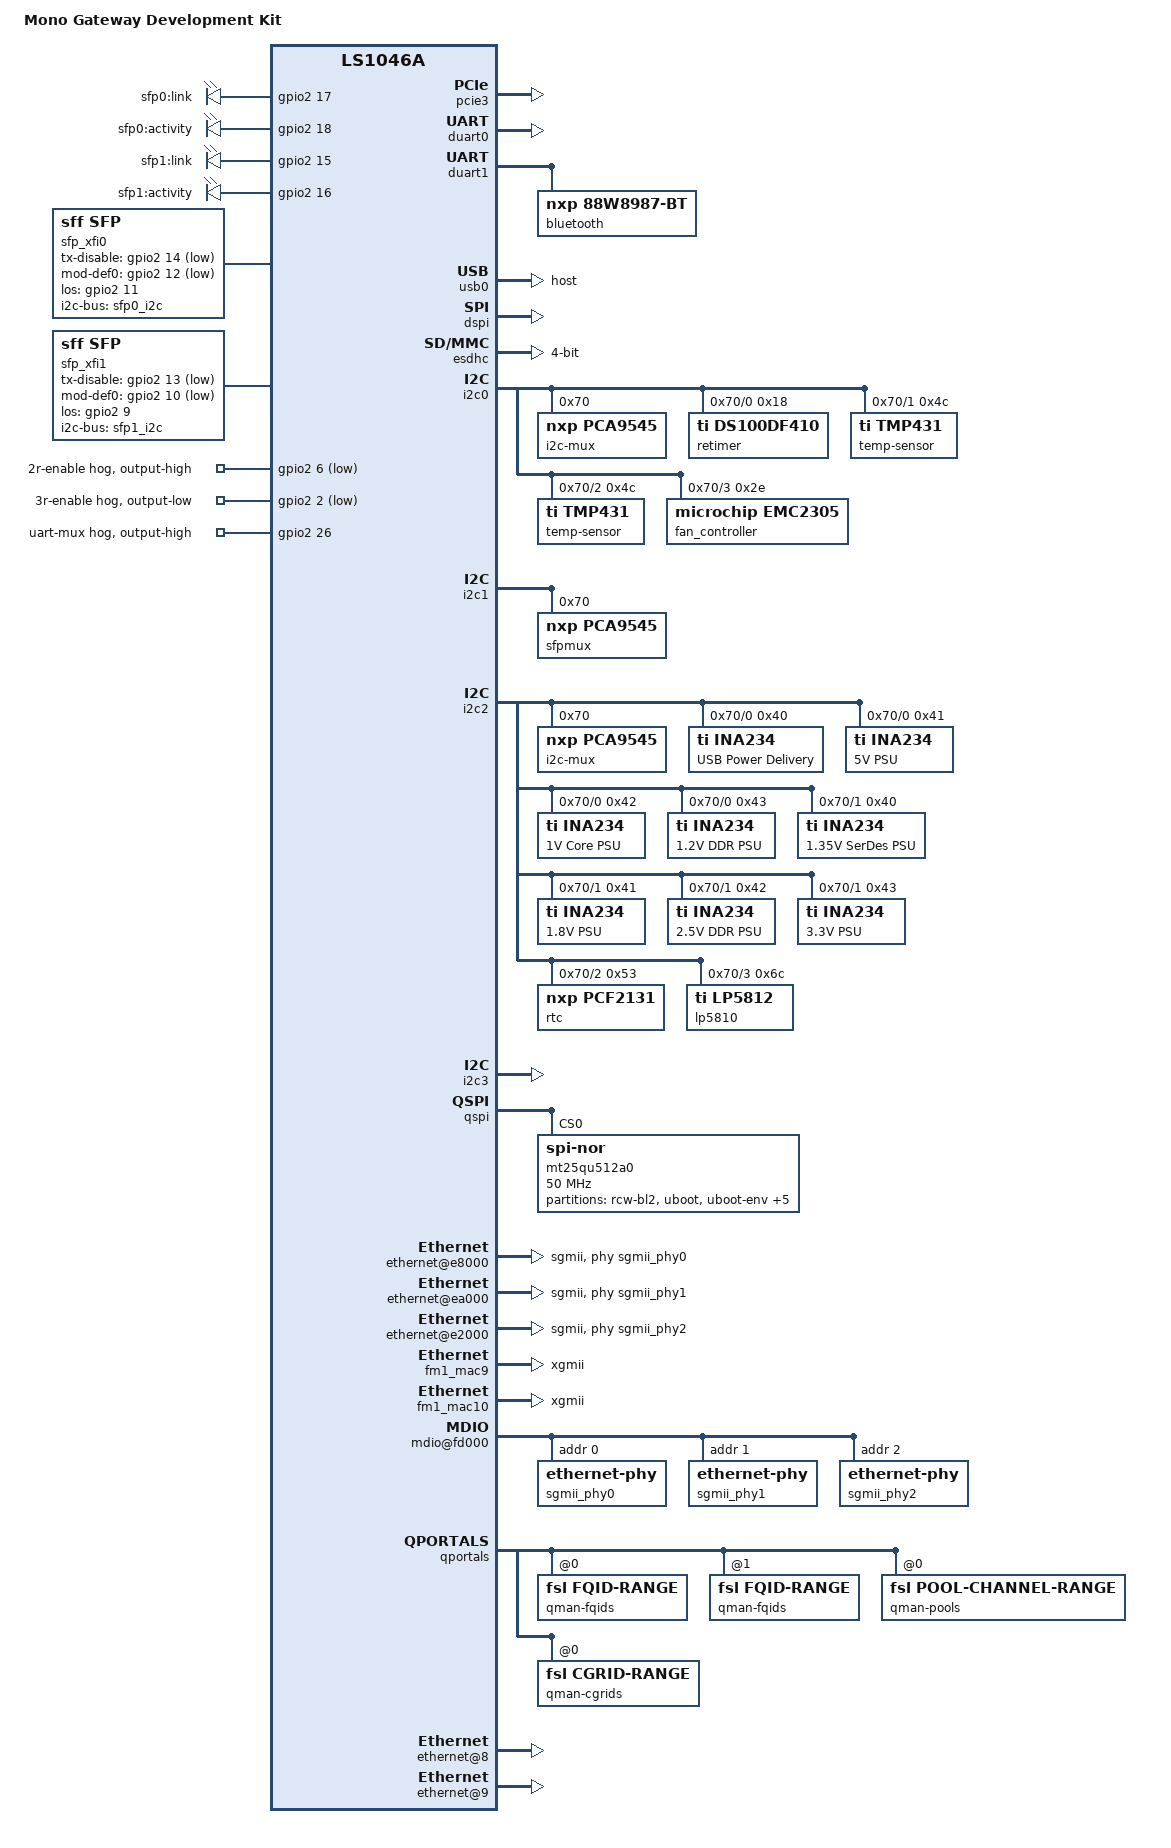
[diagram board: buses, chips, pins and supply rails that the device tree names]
// SPDX-License-Identifier: (GPL-2.0+ OR MIT)
/*
 * Device Tree file for Freescale Layerscape-1046A family SoC.
 *
 * Copyright 2025 Mono Technologies Inc.
 *
 * Author: Tomaz Zaman <tomaz@mono.si>
 */

/dts-v1/;

#include <dt-bindings/gpio/gpio.h>
#include <dt-bindings/leds/common.h>
#include <dt-bindings/pwm/pwm.h>
#include "fsl-ls1046a.dtsi"

/ {
	model = "Mono Gateway Development Kit";
	compatible = "mono,gateway-dk", "fsl,ls1046a";

	aliases {
		serial0 = &duart0;
		serial1 = &duart1;
		ethernet0 = &enet4;  /* MAC5 - leftmost 1G port */
ethernet1 = &enet1;  /* MAC2 - right 1G port */
ethernet2 = &enet5;  /* MAC6 - center 1G port */
		ethernet3 = &enet6;  /* MAC9 - 10G left SFP */
		ethernet4 = &enet7;  /* MAC10 - 10G right SFP */
	};

	chosen {
		stdout-path = "serial0:115200n8";
	};

	reserved-memory {
		#address-cells = <2>;
		#size-cells = <2>;
		ranges;

		/* DPDK DMA buffer pool — 256MB contiguous
		 * Used by fsl_usdpaa_mainline driver for DMA_MAP ioctl.
		 * Address 0xc000_0000 is below 4GB DMA boundary.
		 */
		usdpaa_mem: usdpaa-mem@c0000000 {
			compatible = "fsl,usdpaa-mem";
			reg = <0x0 0xc0000000 0x0 0x10000000>;
			no-map;
		};
	};

	leds {
		compatible = "gpio-leds";

		/* SFP+ Port 0 LEDs - Activity/Link */
		sfp0_link {
			label = "sfp0:link";
			gpios = <&gpio2 17 GPIO_ACTIVE_HIGH>;
			default-state = "off";
		};

		sfp0_activity {
			label = "sfp0:activity";
			gpios = <&gpio2 18 GPIO_ACTIVE_HIGH>;
			default-state = "off";
			linux,default-trigger = "netdev";
		};

		/* SFP+ Port 1 LEDs - Activity/Link */
		sfp1_link {
			label = "sfp1:link";
			gpios = <&gpio2 15 GPIO_ACTIVE_HIGH>;
			default-state = "off";
		};

		sfp1_activity {
			label = "sfp1:activity";
			gpios = <&gpio2 16 GPIO_ACTIVE_HIGH>;
			default-state = "off";
			linux,default-trigger = "netdev";
		};
	};

	/* SFP 1 */
sfp_xfi0: sfp-xfi0 {
compatible = "sff,sfp";
i2c-bus = <&sfp0_i2c>;
tx-disable-gpios = <&gpio2 14 GPIO_ACTIVE_LOW>;
mod-def0-gpios = <&gpio2 12 GPIO_ACTIVE_LOW>;
los-gpios = <&gpio2 11 GPIO_ACTIVE_HIGH>;
maximum-power-milliwatt = <3000>;
	};

	/* SFP 2 */
sfp_xfi1: sfp-xfi1 {
compatible = "sff,sfp";
i2c-bus = <&sfp1_i2c>;
tx-disable-gpios = <&gpio2 13 GPIO_ACTIVE_LOW>;
mod-def0-gpios = <&gpio2 10 GPIO_ACTIVE_LOW>;
los-gpios = <&gpio2 9 GPIO_ACTIVE_HIGH>;
maximum-power-milliwatt = <3000>;
	};
};

/*
 * BMan buffer pool for DPDK.
 * DPDK's fman.c requires at least one bpool with fsl,bpid.
 * The bpool-ethernet-cfg values (count/size/addr) are optional hints;
 * DPDK overrides them with its own mbuf pool allocation.
 */
/ {
	dpaa_pool: dpaa-bpool {
		compatible = "fsl,bpool";
		fsl,bpid = <16>;
	};
};

&pcie3 {
	status = "okay";
};

&gpio2 {
	2R-enable {
		gpio-hog;
		gpios = <6 GPIO_ACTIVE_LOW>;
		output-high;
		line-name = "2r-enable";
	};

	3R-enable {
		gpio-hog;
		gpios = <2 GPIO_ACTIVE_LOW>;
		output-low;
		line-name = "3r-enable";
	};

	uart-mux {
		gpio-hog;
		gpios = <26 GPIO_ACTIVE_HIGH>;
		output-high; /* "output-high" for 2R, "output-low" for 3R */
		line-name = "uart-mux";
	};
};

&duart0 {
	status = "okay";
};

&duart1 {
	status = "okay";
	uart-has-rtscts;

	bluetooth {
		compatible = "nxp,88w8987-bt";
		fw-init-baudrate = <3000000>;
	};
};

&usb0 {
	status = "okay";
	dr_mode = "host";
};

&usb1 {
	status = "disabled";
};

&usb2 {
	status = "disabled";
};

&dspi {
	status = "okay";
};

&esdhc {
	status = "okay";
	mmc-hs200-1_8v;
	bus-width = <4>;
};

&i2c0 {
	status = "okay";

	/* Thermal sensors, retimer, clock genenerator, PWM fan */
	i2c-mux@70 {
		compatible = "nxp,pca9545";
		reg = <0x70>;
		#address-cells = <1>;
		#size-cells = <0>;

		i2c@0 {
			#address-cells = <1>;
			#size-cells = <0>;
			reg = <0>;

			retimer@18 {
				compatible = "ti,ds100df410";
				reg = <0x18>;
				status = "okay";
			};
		};

		i2c@1 {
			#address-cells = <1>;
			#size-cells = <0>;
			reg = <1>;

			temp-sensor@4c {
				compatible = "ti,tmp431";
				reg = <0x4c>;
			};
		};

		i2c@2 {
			#address-cells = <1>;
			#size-cells = <0>;
			reg = <2>;

			temp-sensor@4c {
				compatible = "ti,tmp431";
				reg = <0x4c>;
			};
		};

		i2c@3 {
			#address-cells = <1>;
			#size-cells = <0>;
			reg = <3>;

			fan_controller: fan-controller@2e {
				compatible = "microchip,emc2305";
				reg = <0x2e>;
				#address-cells = <1>;
				#size-cells = <0>;
				#pwm-cells = <3>;

				fan0: fan@0 {
					reg = <0>;
					label = "System Fan 1";
					pwms = <&fan_controller 26000 1 1>;
					#cooling-cells = <2>;
				};

				fan1: fan@1 {
					reg = <1>;
					label = "System Fan 2";
					pwms = <&fan_controller 26000 1 1>;
					#cooling-cells = <2>;
				};
			};
		};
	};
};

&i2c1 {
	status = "okay";

	/* SFP+ modules */
	sfpmux: i2c-mux@70 {
		compatible = "nxp,pca9545";
		reg = <0x70>;
		#address-cells = <1>;
		#size-cells = <0>;

		sfp0_i2c: i2c@0 {
			#address-cells = <1>;
			#size-cells = <0>;
			reg = <0>;
		};

		sfp1_i2c: i2c@1 {
			#address-cells = <1>;
			#size-cells = <0>;
			reg = <1>;
		};
	};
};

&i2c2 {
	status = "okay";

	i2c-mux@70 {
		compatible = "nxp,pca9545";
		reg = <0x70>;
		#address-cells = <1>;
		#size-cells = <0>;

		i2c@0 {
			#address-cells = <1>;
			#size-cells = <0>;
			reg = <0>;

			power_sensor@40 {
				compatible = "ti,ina234";
				reg = <0x40>;
				label = "USB Power Delivery";
				#io-channel-cells = <1>;
				shunt-resistor = <1000>;
			};
			power_sensor@41 {
				compatible = "ti,ina234";
				reg = <0x41>;
				label = "5V PSU";
				#io-channel-cells = <1>;
				shunt-resistor = <1000>;
			};
			power_sensor@42 {
				compatible = "ti,ina234";
				reg = <0x42>;
				label = "1V Core PSU";
				#io-channel-cells = <1>;
				shunt-resistor = <1000>;
			};
			power_sensor@43 {
				compatible = "ti,ina234";
				reg = <0x43>;
				label = "1.2V DDR PSU";
				#io-channel-cells = <1>;
				shunt-resistor = <5000>;
			};
		};

		i2c@1 {
			#address-cells = <1>;
			#size-cells = <0>;
			reg = <1>;

			power_sensor@40 {
				compatible = "ti,ina234";
				reg = <0x40>;
				label = "1.35V SerDes PSU";
				#io-channel-cells = <1>;
				shunt-resistor = <5000>;
			};
			power_sensor@41 {
				compatible = "ti,ina234";
				reg = <0x41>;
				label = "1.8V PSU";
				#io-channel-cells = <1>;
				shunt-resistor = <5000>;
			};
			power_sensor@42 {
				compatible = "ti,ina234";
				reg = <0x42>;
				label = "2.5V DDR PSU";
				#io-channel-cells = <1>;
				shunt-resistor = <5000>;
			};
			power_sensor@43 {
				compatible = "ti,ina234";
				reg = <0x43>;
				label = "3.3V PSU";
				#io-channel-cells = <1>;
				shunt-resistor = <1000>;
			};
		};

		i2c@2 {
			#address-cells = <1>;
			#size-cells = <0>;
			reg = <2>;


			rtc@53 {
				compatible = "nxp,pcf2131";
				reg = <0x53>;
				status = "okay";
			};
		};

		i2c@3 {
			#address-cells = <1>;
			#size-cells = <0>;
			reg = <3>;

			lp5810@6c {
				compatible = "ti,lp5812";
				reg = <0x6c>;
				#address-cells = <1>;
				#size-cells = <0>;

				led@0 {
					reg = <0>;
					color = <LED_COLOR_ID_WHITE>;
					label = "status:white";
					led-max-microamp = <25500>;
				};

				led@1 {
					reg = <1>;
					color = <LED_COLOR_ID_BLUE>;
					label = "status:blue";
					led-max-microamp = <25500>;
				};

				led@2 {
					reg = <2>;
					color = <LED_COLOR_ID_GREEN>;
					label = "status:green";
					led-max-microamp = <25500>;
				};

				led@3 {
					reg = <3>;
					color = <LED_COLOR_ID_RED>;
					label = "status:red";
					led-max-microamp = <25500>;
				};
			};
		};
	};
};

&i2c3 {
	status = "okay";
};

&qspi {
	status = "okay";

	mt25qu512a0: flash@0 {
		#address-cells = <1>;
		#size-cells = <1>;
		compatible = "jedec,spi-nor";
		spi-max-frequency = <50000000>;
		reg = <0>;

		partitions {
			compatible = "fixed-partitions";
			#address-cells = <1>;
			#size-cells = <1>;

			/*
			 * Partition table verified against live /proc/mtd
			 * (2026-03-29, U-Boot 2025.04, Micron mt25qu512a 64MB QSPI).
			 * Erase sector = 4KB (0x1000). Must match actual firmware layout
			 * so mtd3 = uboot-env and fw_setenv works.
			 */

			/* RCW + BL2 (1 MB) — mtd1 */
			partition@0 {
				label = "rcw-bl2";
				reg = <0x00000000 0x00100000>;
				read-only;
			};
			/* U-Boot (2 MB) — mtd2 */
			partition@100000 {
				label = "uboot";
				reg = <0x00100000 0x00200000>;
				read-only;
			};
			/* U-Boot environment (1 MB, env=8KB) — mtd3, fw_setenv target */
			partition@300000 {
				label = "uboot-env";
				reg = <0x00300000 0x00100000>;
			};
			/* FMan microcode (1 MB) — mtd4 */
			partition@400000 {
				label = "fman-ucode";
				reg = <0x00400000 0x00100000>;
				read-only;
			};
			/* Recovery DTB (1 MB) — mtd5 */
			partition@500000 {
				label = "recovery-dtb";
				reg = <0x00500000 0x00100000>;
				read-only;
			};
			/* Backup (4 MB) — mtd6 */
			partition@600000 {
				label = "backup";
				reg = <0x00600000 0x00400000>;
				read-only;
			};
			/* Recovery kernel + initramfs (22 MB) — mtd7 */
			partition@a00000 {
				label = "kernel-initramfs";
				reg = <0x00a00000 0x01600000>;
				read-only;
			};
			/* Remaining space (32 MB) — mtd8 */
			partition@2000000 {
				label = "unallocated";
				reg = <0x02000000 0x02000000>;
			};
		};
	};
};

#include "fsl-ls1046-post.dtsi"

&fman0 {
	ethernet@e0000 {
		status = "disabled";
	};

	ethernet@e4000 {
		status = "disabled";
	};

	ethernet@e6000 {
		status = "disabled";
	};

	ethernet@e8000 {
		phy-handle = <&sgmii_phy0>;
		phy-connection-type = "sgmii";
		status = "okay";
	};

	ethernet@ea000 {
		phy-handle = <&sgmii_phy1>;
		phy-connection-type = "sgmii";
		status = "okay";
	};

	ethernet@e2000 {
		phy-handle = <&sgmii_phy2>;
		phy-connection-type = "sgmii";
		status = "okay";
	};

fm1_mac9: ethernet@f0000 { /* 10GEC1 */
status = "okay"; /* kernel fsl_dpaa_mac + fsl_dpa own this MAC at boot */
sfp = <&sfp_xfi0>;
phy-connection-type = "xgmii"; /* kernel converts to 10gbase-r; must use xgmii so fman_memac assigns PCS to xfi_pcs */
managed = "in-band-status";
};

fm1_mac10: ethernet@f2000 { /* 10GEC2 */
status = "okay"; /* kernel fsl_dpaa_mac + fsl_dpa own this MAC at boot */
sfp = <&sfp_xfi1>;
phy-connection-type = "xgmii"; /* kernel converts to 10gbase-r; must use xgmii so fman_memac assigns PCS to xfi_pcs */
managed = "in-band-status";
};

	mdio@fc000 {
		status = "disabled";
	};

	mdio@fd000 {
		sgmii_phy0: ethernet-phy@0 {
			reg = <0x0>;
		};

		sgmii_phy1: ethernet-phy@1 {
			reg = <0x1>;
		};

		sgmii_phy2: ethernet-phy@2 {
			reg = <0x2>;
		};
	};
};

&{/thermal-zones/core-cluster/trips} {
	fan_level1: fan-level1 {
		temperature = <40000>;
		hysteresis = <1000>;
		type = "active";
	};

	fan_level2: fan-level2 {
		temperature = <45000>;
		hysteresis = <1000>;
		type = "active";
	};

	fan_level3: fan-level3 {
		temperature = <50000>;
		hysteresis = <1000>;
		type = "active";
	};

	fan_level4: fan-level4 {
		temperature = <55000>;
		hysteresis = <1000>;
		type = "active";
	};

	fan_level5: fan-level5 {
		temperature = <60000>;
		hysteresis = <1000>;
		type = "active";
	};
};

&{/thermal-zones/core-cluster/cooling-maps} {
	fan-map1 {
		trip = <&fan_level1>;
		cooling-device = <&fan0 1 1>;
	};

	fan-map2 {
		trip = <&fan_level2>;
		cooling-device = <&fan0 2 2>;
	};

	fan-map3 {
		trip = <&fan_level3>;
		cooling-device = <&fan0 3 3>;
	};

	fan-map4 {
		trip = <&fan_level4>;
		cooling-device = <&fan0 4 4>;
	};

	fan-map5 {
		trip = <&fan_level5>;
		cooling-device = <&fan0 6 6>;
	};
};

/*
	* DPDK DPAA1 PMD support.
	*
	* Mainline kernel DTSIs lack fsl,qman-channel-id on TX port nodes
	* (only SDK DTSIs have it). DPDK's fman.c requires this property to
	* determine the QMan enqueue channel for each MAC's TX path.
	*
	* LS1046A FMan0 QMan channel assignment (from LS1046A Reference Manual):
	*   0x800 = 10GEC1 (MAC9,  ethernet@f0000)
	*   0x801 = 10GEC2 (MAC10, ethernet@f2000)
	*   0x802 = 1G MAC1 (ethernet@e0000) — disabled
	*   0x803 = 1G MAC2 (ethernet@e2000)
	*   0x804 = 1G MAC3 (ethernet@e4000) — disabled
	*   0x805 = 1G MAC4 (ethernet@e6000) — disabled
	*   0x806 = 1G MAC5 (ethernet@e8000)
	*   0x807 = 1G MAC6 (ethernet@ea000)
	*/
&fman0_tx_0x28 { fsl,qman-channel-id = <0x802>; }; /* MAC1 */
&fman0_tx_0x29 { fsl,qman-channel-id = <0x803>; }; /* MAC2 */
&fman0_tx_0x2a { fsl,qman-channel-id = <0x804>; }; /* MAC3 */
&fman0_tx_0x2b { fsl,qman-channel-id = <0x805>; }; /* MAC4 */
&fman0_tx_0x2c { fsl,qman-channel-id = <0x806>; }; /* MAC5 */
&fman0_tx_0x2d { fsl,qman-channel-id = <0x807>; }; /* MAC6 */
&fman0_tx_0x30 { fsl,qman-channel-id = <0x800>; }; /* MAC9  10GEC1 */
&fman0_tx_0x31 { fsl,qman-channel-id = <0x801>; }; /* MAC10 10GEC2 */

/*
 * DPDK QMan/BMan resource allocation ranges.
 *
 * These nodes live inside the QMan portals container (&qportals).
 * The mainline kernel ignores them (no driver matches these compatible strings),
 * but DPDK userspace reads them via /proc/device-tree/ for resource allocation.
 *
 * Source: NXP SDK qoriq-qman-portals-sdk.dtsi
 * - fsl,pool-channel-range: REQUIRED by DPDK qman_driver.c:307
 *   of_find_compatible_node(NULL, NULL, "fsl,pool-channel-range")
 * - fsl,fqid-range: Frame Queue ID allocation pools for DPDK
 * - fsl,cgrid-range: Congestion Group ID allocation for DPDK
 */
&qportals {
	qman-fqids@0 {
		compatible = "fsl,fqid-range";
		fsl,fqid-range = <256 256>;
	};

	qman-fqids@1 {
		compatible = "fsl,fqid-range";
		fsl,fqid-range = <32768 32768>;
	};

	qman-pools@0 {
		compatible = "fsl,pool-channel-range";
		fsl,pool-channel-range = <0x401 0xf>;
	};

	qman-cgrids@0 {
		compatible = "fsl,cgrid-range";
		fsl,cgrid-range = <0 256>;
	};
};

/*
* DPDK DPAA bus container — SFP+ ports ONLY.
*
* DPDK's fman_init() looks for a node with compatible = "fsl,dpaa",
* then iterates its children calling fman_if_init() for each.
* The kernel ignores this node — no mainline driver matches "fsl,dpaa".
*
* CRITICAL: Only SFP+ ports (10G) are listed here. RJ45 ports (1G)
* are managed exclusively by kernel fsl_dpa and must NOT appear in
* this container. Including them causes DPDK to grab their QMan portals
* via /dev/mem, conflicting with kernel fsl_dpa → kernel panic.
*
* At boot, the SFP+ MAC nodes (status = "okay") are owned by the kernel
* via fsl_dpaa_mac + fsl_dpa drivers. When VyOS configures a port for
* VPP, vyos-1x vpp.py unbinds that port's dpaa-ethernet.N device from
* fsl_dpa before starting VPP with DPDK DPAA PMD. On VPP stop, the
* device is rebound to fsl_dpa, restoring kernel control.
*
* FQIDs start at 0x40c to avoid conflict with kernel dynamic allocation.
*/
&soc {
	fsl,dpaa {
		compatible = "fsl,ls1046a-dpaa", "simple-bus", "fsl,dpaa";

		/* MAC9 — 10G left SFP+ (eth3) */
		ethernet@8 {
			compatible = "fsl,dpa-ethernet-init";
			fsl,fman-mac = <&enet6>;
			fsl,qman-frame-queues-rx = <0x40c 1 0x40d 1>;
			fsl,qman-frame-queues-tx = <0x40e 1 0x40f 1>;
			fsl,bman-buffer-pools = <&dpaa_pool>;
		};

		/* MAC10 — 10G right SFP+ (eth4) */
		ethernet@9 {
			compatible = "fsl,dpa-ethernet-init";
			fsl,fman-mac = <&enet7>;
			fsl,qman-frame-queues-rx = <0x410 1 0x411 1>;
			fsl,qman-frame-queues-tx = <0x412 1 0x413 1>;
			fsl,bman-buffer-pools = <&dpaa_pool>;
		};
	};
};
